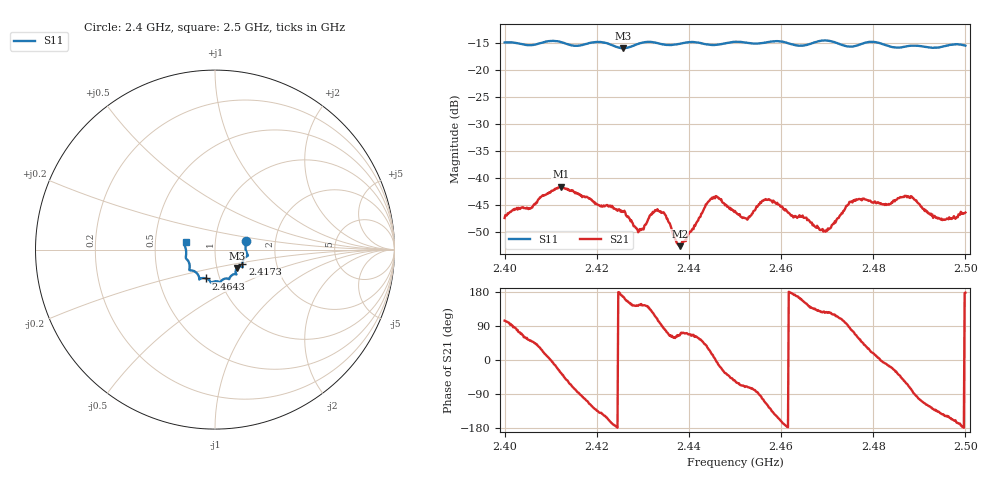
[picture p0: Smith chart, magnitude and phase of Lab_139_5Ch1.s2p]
# Hz S RI R 50
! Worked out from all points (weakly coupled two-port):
!   601 points, 2.4 GHz to 2.5 GHz, reference 50 ohm
!   highest |S21| = -41.52 dB at 2.4122 GHz (marker M1); lowest = -52.6 dB at 2.438 GHz (marker M2)
!   lowest |S11| = -15.9 dB at 2.4257 GHz (marker M3), VSWR 1.38, Z = 62.4 - j13.1 ohm
!   |S11| at or under -10 dB: start of sweep to end of sweep
!   S12 and S22 are empty: the file has one direction only
!   S11 on the Smith chart (normalised r, x): 2.4 GHz: 1.41, +0.15; 2.4173 GHz: 1.34, -0.23; 2.4643 GHz: 0.86, -0.28; 2.5 GHz: 0.72, +0.06
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2.4e9  0.1735 0.0497  -0.00102 0.00417  0 0  0 0
2.405667e9  0.1701 0.00551  0.0033 0.00412  0 0  0 0
2.412167e9  0.1788 -0.037  0.00701 -0.00462  0 0  0 0
2.416667e9  0.1529 -0.0747  -0.000459 -0.00695  0 0  0 0
2.417333e9  0.1525 -0.0823  -0.00138 -0.00667  0 0  0 0
2.425667e9  0.1225 -0.1025  -0.00483 0.00112  0 0  0 0
2.429333e9  0.1168 -0.1333  -0.00281 0.0019  0 0  0 0
2.433333e9  0.1128 -0.1368  -0.00108 0.00487  0 0  0 0
2.434833e9  0.1028 -0.1379  0.000864 0.00452  0 0  0 0
2.438e9  0.083 -0.1544  0.00099 0.00214  0 0  0 0
2.445e9  0.0555 -0.1619  0.0064 0.00166  0 0  0 0
2.45e9  0.0296 -0.1808  0.00288 -0.00407  0 0  0 0
2.452667e9  0.0195 -0.1779  0.00138 -0.0039  0 0  0 0
2.457e9  -0.0136 -0.181  -0.00299 -0.00555  0 0  0 0
2.464333e9  -0.0504 -0.1606  -0.00421 0.00143  0 0  0 0
2.466667e9  -0.0764 -0.1597  -0.00288 0.00262  0 0  0 0
2.470167e9  -0.0875 -0.1659  -0.00194 0.00284  0 0  0 0
2.4765e9  -0.1218 -0.1177  0.00303 0.00559  0 0  0 0
2.483333e9  -0.141 -0.0894  0.0056 -0.00145  0 0  0 0
2.487333e9  -0.1575 -0.0544  0.00303 -0.00595  0 0  0 0
2.4945e9  -0.163 0.00456  -0.00324 -0.0027  0 0  0 0
2.5e9  -0.1634 0.042  -0.00482 0.00019  0 0  0 0
